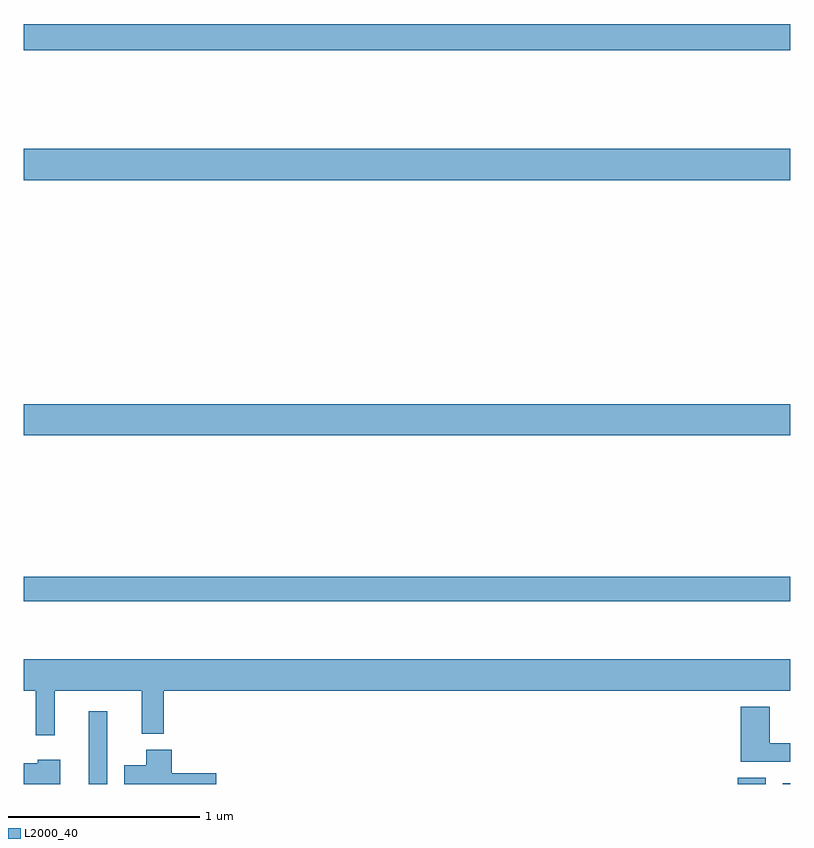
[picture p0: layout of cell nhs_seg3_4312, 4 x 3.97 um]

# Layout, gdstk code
import gdstk
lib = gdstk.Library(unit=1e-6, precision=1e-09)
def R(c, l, rs):  # rectangles x0, y0, x1, y1
    for r in rs: c.add(gdstk.rectangle(r[:2], r[2:], *l))
def P(c, l, *ps):  # polygons
    for p in ps: c.add(gdstk.Polygon(p, *l))
L2000_40 = (2000, 40)

nhs_seg3_4312 = lib.new_cell('nhs_seg3_4312')
R(nhs_seg3_4312, L2000_40, [(339.338,728.4,339.435,728.779), (342.728,728.4,342.874,728.432), (342.962,728.4,343,728.404), (339,729.354,343,729.482), (339,730.22,343,730.384), (339,731.552,343,731.716), (339,732.232,343,732.368)])
P(nhs_seg3_4312, L2000_40, [(339.161,728.888),(339.614,728.888),(339.614,728.663),(339.731,728.663),(339.731,728.888),(343,728.888),(343,729.052),(339,729.052),(339,728.888),(339.061,728.888),(339.061,728.655),(339.161,728.655)],
  [(343,728.613),(342.895,728.613),(342.895,728.803),(342.743,728.803),(342.743,728.517),(343,728.517)],
  [(340.003,728.457),(339.773,728.457),(339.773,728.578),(339.638,728.578),(339.638,728.497),(339.524,728.497),(339.524,728.4),(340.003,728.4)],
  [(339.19,728.527),(339.072,728.527),(339.072,728.509),(339,728.509),(339,728.4),(339.19,728.4)])

lib.write_gds('nhs_seg3_4312.gds')
